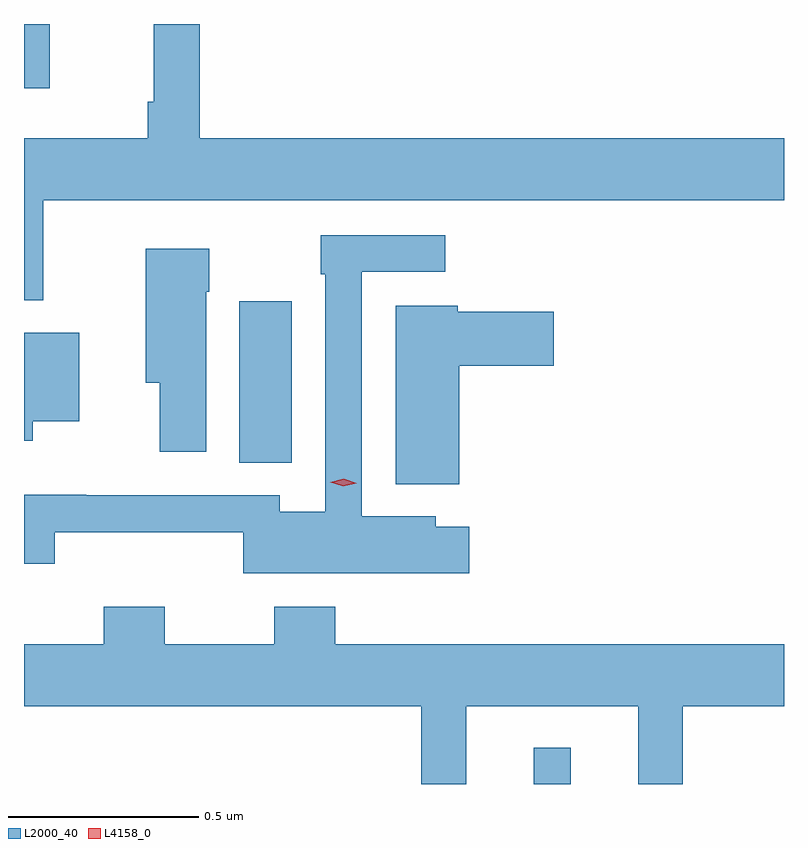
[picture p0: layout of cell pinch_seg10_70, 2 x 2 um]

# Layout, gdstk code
import gdstk
lib = gdstk.Library(unit=1e-6, precision=1e-09)
def R(c, l, rs):  # rectangles x0, y0, x1, y1
    for r in rs: c.add(gdstk.rectangle(r[:2], r[2:], *l))
def P(c, l, *ps):  # polygons
    for p in ps: c.add(gdstk.Polygon(p, *l))
L2000_40 = (2000, 40)
L4158_0 = (4158, 0)

pinch_seg10_70 = lib.new_cell('pinch_seg10_70')
R(pinch_seg10_70, L2000_40, [(834.789,1325.42,834.886,1325.515), (834.014,1326.265,834.151,1326.691), (833.447,1327.251,833.515,1327.42)])
P(pinch_seg10_70, L2000_40, [(833.498,1326.956),(835.447,1326.956),(835.447,1327.12),(833.909,1327.12),(833.909,1327.42),(833.788,1327.42),(833.788,1327.216),(833.773,1327.216),(833.773,1327.12),(833.447,1327.12),(833.447,1326.693),(833.498,1326.693)],
  [(834.619,1326.097),(834.531,1326.097),(834.531,1326.124),(834.336,1326.124),(834.336,1326.768),(834.556,1326.768),(834.556,1326.864),(834.228,1326.864),(834.228,1326.761),(834.24,1326.761),(834.24,1326.136),(834.12,1326.136),(834.12,1326.18),(833.611,1326.18),(833.611,1326.181),(833.447,1326.181),(833.447,1326),(833.528,1326),(833.528,1326.083),(834.024,1326.083),(834.024,1325.975),(834.619,1325.975)],
  [(833.926,1326.716),(833.934,1326.716),(833.934,1326.829),(833.768,1326.829),(833.768,1326.476),(833.804,1326.476),(833.804,1326.294),(833.926,1326.294)],
  [(834.592,1326.521),(834.841,1326.521),(834.841,1326.663),(834.588,1326.663),(834.588,1326.679),(834.425,1326.679),(834.425,1326.209),(834.592,1326.209)],
  [(833.47,1326.374),(833.593,1326.374),(833.593,1326.607),(833.447,1326.607),(833.447,1326.323),(833.47,1326.323)],
  [(834.611,1325.624),(835.064,1325.624),(835.064,1325.42),(835.181,1325.42),(835.181,1325.624),(835.447,1325.624),(835.447,1325.788),(834.266,1325.788),(834.266,1325.887),(834.106,1325.887),(834.106,1325.788),(833.817,1325.788),(833.817,1325.887),(833.657,1325.887),(833.657,1325.788),(833.447,1325.788),(833.447,1325.624),(834.493,1325.624),(834.493,1325.42),(834.611,1325.42)])
P(pinch_seg10_70, L4158_0, [(834.287,1326.203),(834.253,1326.214),(834.252,1326.214),(834.253,1326.214),(834.288,1326.223),(834.322,1326.212),(834.323,1326.212),(834.322,1326.212)])

lib.write_gds('pinch_seg10_70.gds')
